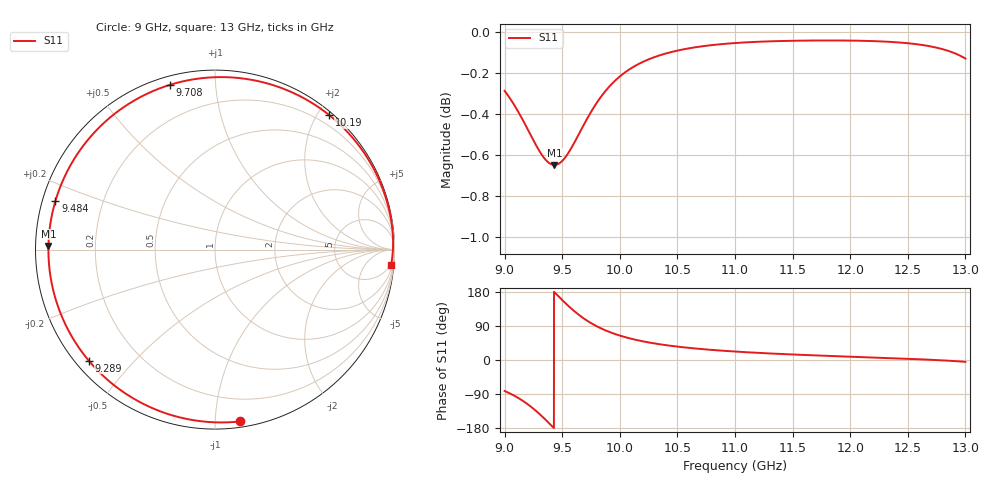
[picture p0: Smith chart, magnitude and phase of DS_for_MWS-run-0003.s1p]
! TOUCHSTONE file generated by CST DESIGN STUDIO
! Date and time: Tue Feb  4 14:22:59 2025
! Project name: C:\Work\MatlabApps\UnitCellOptimizationMatlab\CST\unitcell.cst
! Tree item: Tasks\Sweep1\SPara1\S-Parameters
! Header version: 2024
! Port assignment regex: !\s*Touchstone port\s*([0-9]+)\s*=\s*(CST MWS port|CST DES external port|CST DES block port)\s*(.+)\s* \(\"(.*)\"\)(\s*mode\s*([0-9]+))?.*
! Touchstone port assignment:
! Touchstone port 1 = CST DES external port 1 ("")
# GHz S MA R 50
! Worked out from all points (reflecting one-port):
!   4001 points, 9 GHz to 13 GHz, reference 50 ohm
!   lowest |S11| = -0.6 dB at 9.433 GHz (marker M1), VSWR 26.85, Z = 1.86 + j0.548 ohm
!   phase of S11 starts at -82 deg and turns -283 deg over the sweep
!   S11 on the Smith chart (normalised r, x): 9 GHz: 0.04, -1.15; 9.289 GHz: 0.04, -0.38; 9.484 GHz: 0.04, +0.15; 9.708 GHz: 0.04, +0.76; 10.19 GHz: 0.05, +2.16; 13 GHz: 4, -23
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9  0.9675 -81.7
9.089  0.9593 -95.0
9.161  0.9515 -108.4
9.227  0.9437 -122.9
9.289  0.9368 -138.6
9.366  0.9302 -160.7
9.4  0.9287 -171.1
9.433  0.9282 178.7
9.484  0.9294 163.0
9.5  0.9303 158.2
9.553  0.9344 142.8
9.603  0.9396 129.4
9.654  0.9454 117.0
9.708  0.9516 105.4
9.774  0.9586 93.2
9.851  0.9655 81.5
9.923  0.9708 72.5
10  0.9753 64.4
10.092  0.9795 56.6
10.194  0.9831 49.6
10.334  0.9866 42.1
10.5  0.9895 35.3
10.723  0.992 28.5
11  0.9937 22.3
11.5  0.995 14.5
12  0.9951 8.7
12.5  0.9936 3.2
13  0.9851 -4.9
